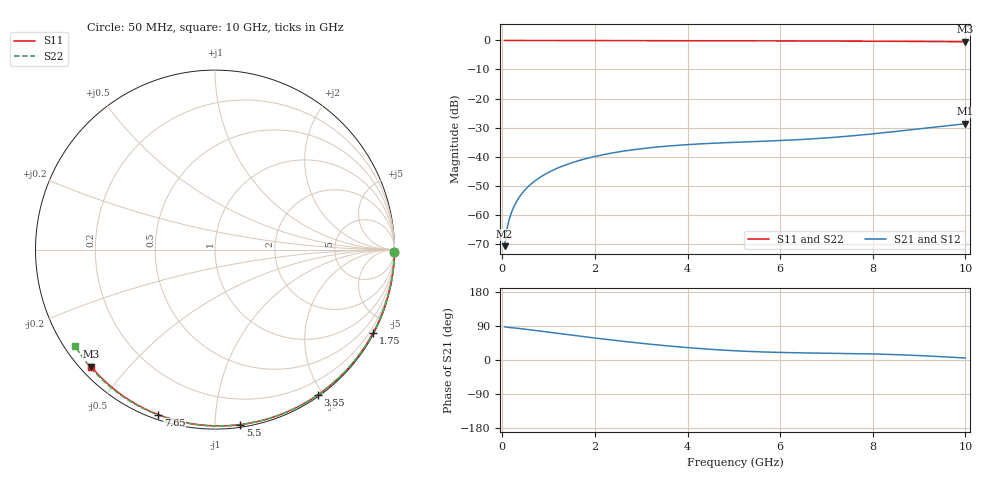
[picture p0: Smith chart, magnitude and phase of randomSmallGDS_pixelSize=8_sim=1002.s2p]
! freq	dB(S11)	phase(S11)	dB(S12)	phase(S12)
!  dB(S21)	phase(S21)	dB(S22)	phase(S22)
!S-par simulation data
#  GHz  S  DB  R 50
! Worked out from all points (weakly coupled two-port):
!   200 points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, 50 MHz to 10 GHz, reference 50 ohm
!   highest |S21| = -28.69 dB at 10 GHz (marker M1); lowest = -70.9 dB at 50 MHz (marker M2)
!   lowest |S11| = -0.5 dB at 10 GHz (marker M3), VSWR 38.33, Z = 1.51 - j19.9 ohm
!   |S11| at or under -10 dB: nowhere
!   |S22| runs from -0.5 to 0.0 dB; largest |S21 - S12| = 0
!   S11 on the Smith chart (normalised r, x): 50 MHz: open; 1.75 GHz: 0.04, -4.07; 3.55 GHz: 0.02, -1.93; 5.5 GHz: 0.02, -1.16; 7.65 GHz: 0.02, -0.71; 10 GHz: 0.03, -0.40
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0.05  -0.00 -0.8  -70.86 87.5  -70.86 87.5  -0.00 -0.9
0.1  -0.00 -1.6  -65.02 86.5  -65.02 86.5  -0.00 -1.7
0.15  -0.00 -2.4  -61.60 85.9  -61.60 85.9  -0.00 -2.6
0.2  -0.00 -3.2  -59.16 85.4  -59.16 85.4  -0.00 -3.4
0.25  -0.00 -4.0  -57.25 84.8  -57.25 84.8  -0.00 -4.3
0.35  -0.00 -5.6  -54.36 83.4  -54.36 83.4  -0.00 -6.0
0.5  -0.01 -8.0  -51.31 81.2  -51.31 81.2  -0.01 -8.6
0.7  -0.01 -11.2  -48.43 78.1  -48.43 78.1  -0.01 -12.0
1  -0.02 -15.9  -45.43 73.4  -45.43 73.4  -0.02 -17.1
1.35  -0.03 -21.4  -42.98 67.9  -42.98 67.9  -0.03 -22.9
1.75  -0.04 -27.6  -40.95 61.7  -40.95 61.7  -0.04 -29.6
2.5  -0.05 -39.1  -38.41 50.8  -38.41 50.8  -0.05 -41.8
3.4  -0.07 -52.5  -36.62 39.2  -36.62 39.2  -0.08 -56.1
3.55  -0.07 -54.7  -36.41 37.5  -36.41 37.5  -0.08 -58.4
4.3  -0.09 -65.4  -35.60 29.9  -35.60 29.9  -0.10 -69.7
5.05  -0.12 -75.7  -35.07 24.2  -35.07 24.2  -0.12 -80.7
5.5  -0.13 -81.7  -34.80 21.8  -34.80 21.8  -0.14 -87.1
6.7  -0.19 -97.2  -33.89 18.4  -33.89 18.4  -0.20 -103.5
7.65  -0.24 -108.9  -32.71 16.8  -32.71 16.8  -0.26 -115.9
8.35  -0.30 -117.3  -31.59 14.8  -31.59 14.8  -0.32 -124.8
9.2  -0.37 -127.3  -30.10 10.5  -30.10 10.5  -0.39 -135.5
10  -0.45 -136.6  -28.69 5.2  -28.69 5.2  -0.48 -145.5
